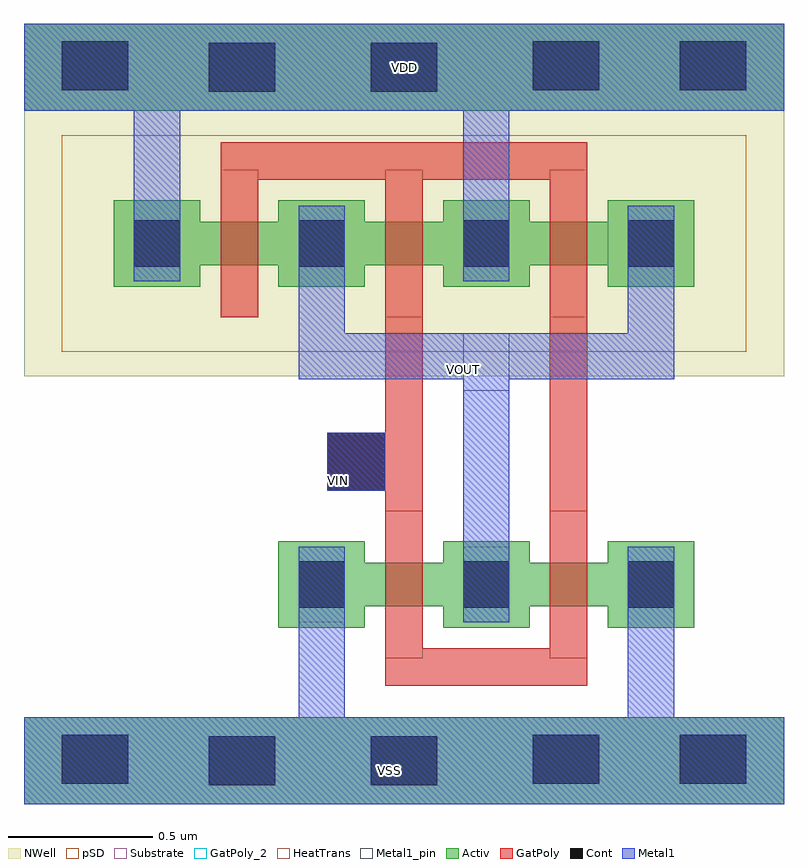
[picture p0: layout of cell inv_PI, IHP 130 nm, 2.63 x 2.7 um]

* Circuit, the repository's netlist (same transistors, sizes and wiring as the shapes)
** sch_path: /foss/designs/PhaseInterpolator/Custom_std_cells/inv_PI.sch
.subckt inv_PI VDD VOUT VIN VSS
*.PININFO VDD:B VSS:B VOUT:O VIN:I
M2 VOUT VIN VDD VDD sg13_lv_pmos w=0.45u l=0.13u ng=3 m=1
M1 VOUT VIN VSS VSS sg13_lv_nmos w=0.3u l=0.13u ng=2 m=1
.ends

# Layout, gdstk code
import gdstk
lib = gdstk.Library(unit=1e-6, precision=5e-09)
def R(c, l, rs):  # rectangles x0, y0, x1, y1
    for r in rs: c.add(gdstk.rectangle(r[:2], r[2:], *l))
def A(c, l, x, y, w, h, nx, ny, dx, dy):  # array of equal rectangles
    R(c, l, [(x+i*dx, y+j*dy, x+i*dx+w, y+j*dy+h) for i in range(nx) for j in range(ny)])
Activ = (1, 0)
GatPoly = (5, 0)
GatPoly_2 = (5, 2)
Cont = (6, 0)
Metal1 = (8, 0)
Metal1_pin = (8, 2)
pSD = (14, 0)
NWell = (31, 0)
Substrate = (40, 0)
HeatTrans = (51, 0)

pmos_1 = lib.new_cell('pmos$1')
A(pmos_1, Activ, 0, 0, 0.3, 0.3, 4, 1, 0.57, 0)
R(pmos_1, Activ, [(0,0.075,2.01,0.225)])
A(pmos_1, GatPoly, 0.37, -0.105, 0.13, 0.51, 3, 1, 0.57, 0)
R(pmos_1, GatPoly, [(0.37,-0.105,0.5,0.405)])
A(pmos_1, Cont, 0.07, 0.07, 0.16, 0.16, 4, 1, 0.57, 0)
A(pmos_1, Metal1, 0.64, 0.02, 0.16, 0.26, 3, 1, 0.57, 0)
R(pmos_1, Metal1, [(0.07,0.02,0.23,0.28), (0.07,0.02,0.23,0.28), (0.64,0.02,0.8,0.28)])
R(pmos_1, pSD, [(-0.18,-0.225,2.19,0.525)])
R(pmos_1, NWell, [(-0.31,-0.31,2.32,0.61)])
R(pmos_1, Substrate, [(1.71,0,2.01,0.3)])
A(pmos_1, HeatTrans, 0.37, -0.105, 0.13, 0.51, 3, 1, 0.57, 0)
pmos_1.add(gdstk.Label('pmos', (0.435,0.15), layer=63, texttype=0))
pmos_1.add(gdstk.Label('pmos', (0.435,0.15), layer=51, texttype=0))
pmos_1.add(gdstk.Label('pmos', (1.005,0.15), layer=51, texttype=0))
pmos_1.add(gdstk.Label('pmos', (1.575,0.15), layer=51, texttype=0))

nmos = lib.new_cell('nmos')
A(nmos, Activ, 0, 0, 0.3, 0.3, 3, 1, 0.57, 0)
R(nmos, Activ, [(0,0.075,1.44,0.225)])
R(nmos, GatPoly, [(0.37,-0.105,0.5,0.405), (0.94,-0.105,1.07,0.405)])
R(nmos, GatPoly_2, [(0.37,-0.105,0.5,0.405)])
A(nmos, Cont, 0.07, 0.07, 0.16, 0.16, 3, 1, 0.57, 0)
A(nmos, Metal1, 0.07, 0.02, 0.16, 0.26, 3, 1, 0.57, 0)
R(nmos, Metal1_pin, [(0.07,0.02,0.23,0.28), (0.64,0.02,0.8,0.28)])
R(nmos, HeatTrans, [(0.37,-0.105,0.5,0.405), (0.94,-0.105,1.07,0.405)])
nmos.add(gdstk.Label('nmos', (0.435,0.15), layer=63, texttype=0))
nmos.add(gdstk.Label('nmos', (0.435,0.15), layer=51, texttype=0))
nmos.add(gdstk.Label('nmos', (1.005,0.15), layer=51, texttype=0))

inv_pi = lib.new_cell('inv_PI')
R(inv_pi, Activ, [(1.76,2.245,4.39,2.545), (1.76,4.645,4.39,4.945)])
R(inv_pi, GatPoly, [(3.01,2.655,3.14,4.535), (3.01,2.655,3.71,2.785), (3.58,2.655,3.71,4.535), (2.81,3.33,3.01,3.53), (2.44,3.93,2.57,4.535), (2.44,4.405,3.71,4.535)])
R(inv_pi, Cont, [(2.4,2.31,2.63,2.48), (2.96,2.31,3.19,2.48), (1.89,2.315,2.12,2.485), (3.52,2.315,3.75,2.485), (4.03,2.315,4.26,2.485), (2.81,3.33,3.01,3.53), (2.4,4.71,2.63,4.88), (2.96,4.71,3.19,4.88), (1.89,4.715,2.12,4.885), (3.52,4.715,3.75,4.885), (4.03,4.715,4.26,4.885)])
R(inv_pi, Metal1, [(1.76,2.245,4.39,2.545), (2.71,2.245,2.87,3.135), (3.85,2.245,4.01,3.135), (3.28,2.885,3.44,3.875), (2.81,3.33,3.01,3.53), (2.71,3.715,4.01,3.875), (2.71,3.72,2.87,4.315), (3.85,3.72,4.01,4.315), (2.14,4.105,2.3,4.945), (3.28,4.105,3.44,4.945), (1.76,4.645,4.39,4.945)])
R(inv_pi, Metal1_pin, [(1.76,2.245,4.39,2.545), (2.81,3.33,3.01,3.53), (3.28,3.675,3.44,3.875), (1.76,4.645,4.39,4.945)])
R(inv_pi, pSD, [(1.76,2.245,4.39,2.545)])
R(inv_pi, NWell, [(1.76,4.645,4.39,4.945)])
inv_pi.add(gdstk.Reference(pmos_1, (2.07,4.035)))
inv_pi.add(gdstk.Reference(nmos, (2.64,2.855)))
inv_pi.add(gdstk.Label('VDD', (3.075,4.795), layer=8, texttype=25))
inv_pi.add(gdstk.Label('VSS', (3.025,2.36), layer=8, texttype=25))
inv_pi.add(gdstk.Label('VIN', (2.85,3.365), layer=8, texttype=25))
inv_pi.add(gdstk.Label('VOUT', (3.28,3.75), layer=8, texttype=25))

lib.write_gds('inv_PI.gds')
